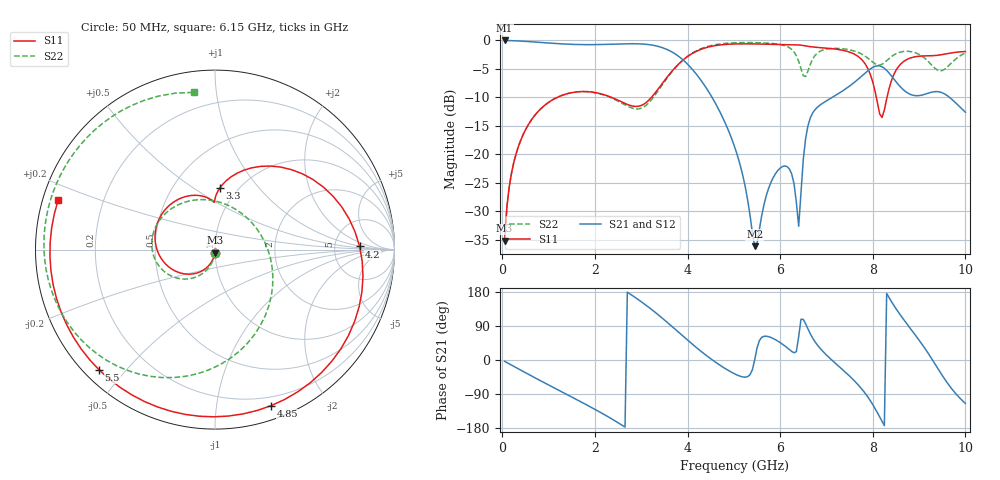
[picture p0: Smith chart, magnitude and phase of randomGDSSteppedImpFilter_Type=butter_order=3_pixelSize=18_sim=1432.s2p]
! freq	dB(S11)	phase(S11)	dB(S12)	phase(S12)
!  dB(S21)	phase(S21)	dB(S22)	phase(S22)
!S-par simulation data
#  GHz  S  DB  R 50
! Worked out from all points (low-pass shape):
!   200 points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, 50 MHz to 10 GHz, reference 50 ohm
!   highest |S21| = -0.01 dB at 50 MHz (marker M1); lowest = -36.1 dB at 5.45 GHz (marker M2)
!   |S21| within 3 dB of the highest: start of sweep to 3.841 GHz
!   lowest |S11| = -35.1 dB at 50 MHz (marker M3), VSWR 1.04, Z = 49.9 - j1.75 ohm
!   |S11| at or under -10 dB: start of sweep to 1.185 GHz; 2.36 GHz to 3.219 GHz (858.7 MHz wide, 30.8 % of centre); 8.076 GHz to 8.307 GHz (231.2 MHz wide, 2.82 % of centre)
!   |S22| runs from -35.1 to -0.4 dB; largest |S21 - S12| = 0
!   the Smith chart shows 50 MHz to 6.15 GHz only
!   S11 on the Smith chart (normalised r, x): 50 MHz: 1.00, -0.03; 3.3 GHz: 0.83, +0.65; 4.2 GHz: 9.20, +0.92; 4.85 GHz: 0.12, -1.42; 5.5 GHz: 0.04, -0.42; 6.15 GHz: 0.04, +0.15
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0.05  -35.12 -93.2  -0.01 -3.4  -0.01 -3.4  -35.11 -92.5
0.5  -15.70 -127.5  -0.17 -33.5  -0.17 -33.5  -15.68 -120.3
1.75  -8.97 145.0  -0.74 -113.8  -0.74 -113.8  -8.98 166.7
2.65  -11.06 95.1  -0.59 -177.0  -0.59 -177.0  -11.31 91.0
3.3  -9.21 85.3  -0.92 125.9  -0.92 125.9  -9.57 -16.8
3.4  -8.15 80.4  -1.13 116.0  -1.13 116.0  -8.43 -32.1
4.2  -1.88 1.3  -6.01 31.9  -6.01 31.9  -1.79 -121.7
4.85  -0.69 -70.1  -15.16 -25.3  -15.16 -25.3  -0.50 -170.0
5.05  -0.62 -90.4  -19.50 -38.5  -19.50 -38.5  -0.41 177.8
5.45  -0.62 -129.2  -36.10 0.1  -36.10 0.1  -0.39 154.4
5.5  -0.63 -134.0  -35.67 31.1  -35.67 31.1  -0.40 151.4
6.15  -0.76 162.5  -22.14 32.4  -22.14 32.4  -1.07 97.6
6.45  -0.83 130.1  -26.69 107.5  -26.69 107.5  -4.96 4.7
6.7  -1.15 102.1  -12.76 58.3  -12.76 58.3  -3.30 -161.0
7.4  -1.82 14.0  -8.58 -31.1  -8.58 -31.1  -1.51 110.8
7.85  -4.31 -64.6  -5.63 -90.2  -5.63 -90.2  -2.85 83.4
8.1  -10.96 -149.0  -4.45 -139.0  -4.45 -139.0  -4.28 78.3
8.35  -8.51 50.6  -5.71 165.0  -5.71 165.0  -3.20 75.9
9  -2.77 -66.9  -9.68 52.4  -9.68 52.4  -2.45 6.5
9.35  -2.65 -100.6  -8.98 -11.7  -8.98 -11.7  -4.94 -78.5
9.65  -2.26 -126.8  -9.95 -67.2  -9.95 -67.2  -4.35 -177.9
10  -1.95 -159.5  -12.60 -114.7  -12.60 -114.7  -2.17 117.6
